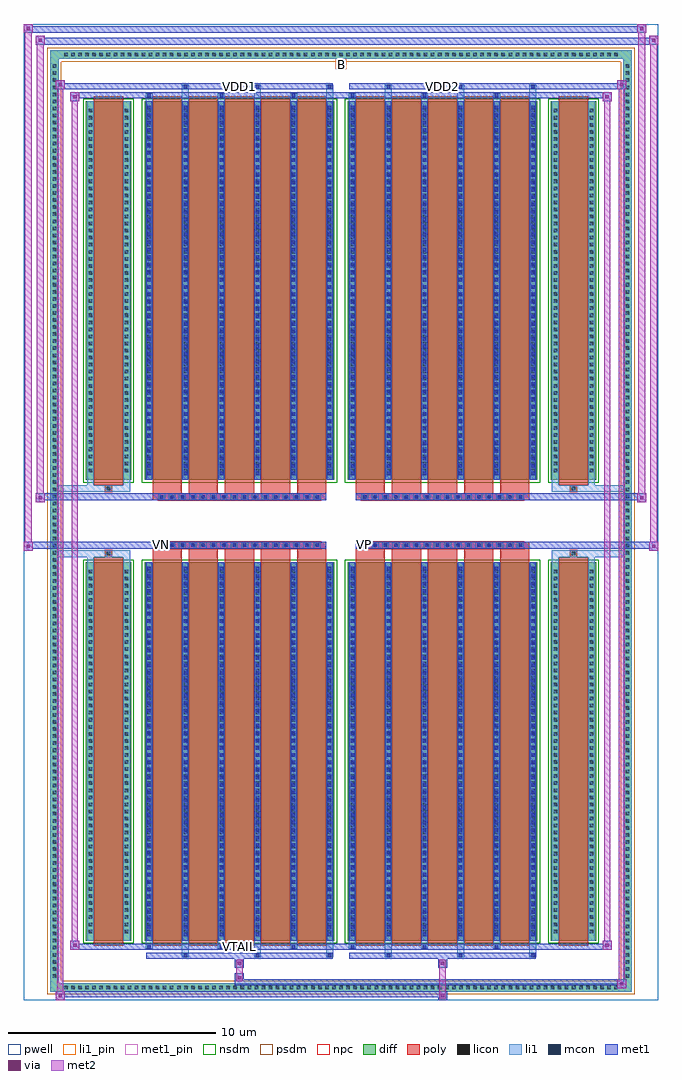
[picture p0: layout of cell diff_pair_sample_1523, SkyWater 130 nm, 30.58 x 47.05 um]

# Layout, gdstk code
import gdstk
lib = gdstk.Library(unit=1e-6, precision=5e-09)
def R(c, l, rs):  # rectangles x0, y0, x1, y1
    for r in rs: c.add(gdstk.rectangle(r[:2], r[2:], *l))
def A(c, l, x, y, w, h, nx, ny, dx, dy):  # array of equal rectangles
    R(c, l, [(x+i*dx, y+j*dy, x+i*dx+w, y+j*dy+h) for i in range(nx) for j in range(ny)])
def P(c, l, *ps):  # polygons
    for p in ps: c.add(gdstk.Polygon(p, *l))
pwell = (64, 44)
diff = (65, 20)
poly = (66, 20)
licon = (66, 44)
li1_pin = (67, 16)
li1 = (67, 20)
mcon = (67, 44)
met1_pin = (68, 16)
met1 = (68, 20)
via = (68, 44)
met2 = (69, 20)
nsdm = (93, 44)
psdm = (94, 20)
npc = (95, 20)

diff_pair_sample_1523 = lib.new_cell('diff_pair_sample_1523')
R(diff_pair_sample_1523, pwell, [(-15.29,-23.09,15.29,23.96), (-12.61,-21.28,-0.01,-0.8), (0.01,-21.28,12.61,-0.8), (-12.61,0.8,-0.01,21.28), (0.01,0.8,12.61,21.28)])
A(diff_pair_sample_1523, diff, -13.465, -22.69, 0.41, 0.41, 79, 2, 0.34, 44.97)
A(diff_pair_sample_1523, diff, -14.02, -22.135, 0.41, 0.41, 1, 130, 0, 0.34)
A(diff_pair_sample_1523, diff, 13.61, -22.135, 0.41, 0.41, 1, 130, 0, 0.34)
R(diff_pair_sample_1523, diff, [(-13.465,-22.69,13.465,-22.28), (-14.02,-22.135,-13.61,22.135), (13.61,-22.135,14.02,22.135), (-12.3,-20.235,-10.11,-1.985), (-9.47,-20.235,-0.32,-1.985), (0.32,-20.235,9.47,-1.985), (10.11,-20.235,12.3,-1.985), (-12.3,1.985,-10.11,20.235), (-9.47,1.985,-0.32,20.235), (0.32,1.985,9.47,20.235), (10.11,1.985,12.3,20.235), (-13.465,22.28,13.465,22.69)])
P(diff_pair_sample_1523, diff, [(14.02,22.69),(-14.02,22.69),(-14.02,-22.28),(-13.61,-22.28),(-13.61,22.28),(13.61,22.28),(13.61,-22.28),(-13.61,-22.28),(-14.02,-22.28),(-14.02,-22.69),(14.02,-22.69)])
A(diff_pair_sample_1523, poly, -9.08, -20.485, 1.41, 18.75, 5, 2, 1.74, 22.22)
A(diff_pair_sample_1523, poly, 0.71, -20.485, 1.41, 18.75, 5, 2, 1.74, 22.22)
A(diff_pair_sample_1523, poly, -9.08, -1.735, 1.41, 0.405, 5, 2, 1.74, 3.065)
A(diff_pair_sample_1523, poly, 0.71, -1.735, 1.41, 0.405, 5, 2, 1.74, 3.065)
A(diff_pair_sample_1523, poly, -8.81, -1.33, 0.33, 0.33, 16, 2, 0.5, 2.33)
A(diff_pair_sample_1523, poly, 0.98, -1.33, 0.33, 0.33, 16, 2, 0.5, 2.33)
R(diff_pair_sample_1523, poly, [(-11.91,-20.485,-10.5,-1.735), (10.5,-20.485,11.91,-1.735), (-11.37,-1.735,-11.04,-1.405), (-11.37,-1.735,-11.04,-1.405), (11.04,-1.735,11.37,-1.405), (11.04,-1.735,11.37,-1.405), (-9.08,-1.33,-0.71,-1), (0.71,-1.33,9.08,-1), (-9.08,1,-0.71,1.33), (0.71,1,9.08,1.33), (-11.37,1.405,-11.04,1.735), (-11.37,1.405,-11.04,1.735), (11.04,1.405,11.37,1.735), (11.04,1.405,11.37,1.735), (-11.91,1.735,-10.5,20.485), (10.5,1.735,11.91,20.485)])
A(diff_pair_sample_1523, licon, -13.345, -22.57, 0.17, 0.17, 79, 2, 0.34, 44.97)
A(diff_pair_sample_1523, licon, -13.9, -22.015, 0.17, 0.17, 1, 130, 0, 0.34)
A(diff_pair_sample_1523, licon, 13.73, -22.015, 0.17, 0.17, 1, 130, 0, 0.34)
A(diff_pair_sample_1523, licon, -12.16, -19.865, 0.17, 0.17, 1, 52, 0, 0.34)
A(diff_pair_sample_1523, licon, -10.42, -19.865, 0.17, 0.17, 1, 52, 0, 0.34)
A(diff_pair_sample_1523, licon, -9.33, -19.865, 0.17, 0.17, 6, 52, 1.74, 0.34)
A(diff_pair_sample_1523, licon, 0.46, -19.865, 0.17, 0.17, 6, 52, 1.74, 0.34)
A(diff_pair_sample_1523, licon, 10.25, -19.865, 0.17, 0.17, 1, 52, 0, 0.34)
A(diff_pair_sample_1523, licon, 11.99, -19.865, 0.17, 0.17, 1, 52, 0, 0.34)
A(diff_pair_sample_1523, licon, -8.73, -1.25, 0.17, 0.17, 16, 2, 0.5, 2.33)
A(diff_pair_sample_1523, licon, 1.06, -1.25, 0.17, 0.17, 16, 2, 0.5, 2.33)
A(diff_pair_sample_1523, licon, -12.16, 2.355, 0.17, 0.17, 1, 52, 0, 0.34)
A(diff_pair_sample_1523, licon, -10.42, 2.355, 0.17, 0.17, 1, 52, 0, 0.34)
A(diff_pair_sample_1523, licon, -9.33, 2.355, 0.17, 0.17, 6, 52, 1.74, 0.34)
A(diff_pair_sample_1523, licon, 0.46, 2.355, 0.17, 0.17, 6, 52, 1.74, 0.34)
A(diff_pair_sample_1523, licon, 10.25, 2.355, 0.17, 0.17, 1, 52, 0, 0.34)
A(diff_pair_sample_1523, licon, 11.99, 2.355, 0.17, 0.17, 1, 52, 0, 0.34)
R(diff_pair_sample_1523, licon, [(-11.29,-1.655,-11.12,-1.485), (11.12,-1.655,11.29,-1.485), (-11.29,1.485,-11.12,1.655), (11.12,1.485,11.29,1.655)])
R(diff_pair_sample_1523, li1_pin, [(-0.25,21.78,0.25,22.28)])
A(diff_pair_sample_1523, li1, -13.425, -22.65, 0.33, 0.33, 79, 2, 0.34, 44.97)
A(diff_pair_sample_1523, li1, -13.98, -22.095, 0.33, 0.33, 1, 130, 0, 0.34)
A(diff_pair_sample_1523, li1, 13.65, -22.095, 0.33, 0.33, 1, 130, 0, 0.34)
A(diff_pair_sample_1523, li1, -7.67, -21.04, 0.33, 0.805, 3, 2, 3.48, 41.275)
A(diff_pair_sample_1523, li1, -7.59, -21.04, 0.17, 0.17, 3, 2, 3.48, 41.91)
A(diff_pair_sample_1523, li1, 2.12, -21.04, 0.33, 0.805, 3, 2, 3.48, 41.275)
A(diff_pair_sample_1523, li1, 2.2, -21.04, 0.17, 0.17, 3, 2, 3.48, 41.91)
A(diff_pair_sample_1523, li1, -9.41, -20.61, 0.33, 0.375, 3, 2, 3.48, 40.845)
A(diff_pair_sample_1523, li1, -9.33, -20.61, 0.17, 0.17, 3, 2, 3.48, 41.05)
A(diff_pair_sample_1523, li1, 0.38, -20.61, 0.33, 0.375, 3, 2, 3.48, 40.845)
A(diff_pair_sample_1523, li1, 0.46, -20.61, 0.17, 0.17, 3, 2, 3.48, 41.05)
A(diff_pair_sample_1523, li1, -9.41, -20.235, 0.33, 18.25, 6, 2, 1.74, 22.22)
A(diff_pair_sample_1523, li1, 0.38, -20.235, 0.33, 18.25, 6, 2, 1.74, 22.22)
A(diff_pair_sample_1523, li1, -9.33, -20.015, 0.17, 0.17, 6, 50, 1.74, 0.36)
A(diff_pair_sample_1523, li1, -9.33, -20.015, 0.17, 17.81, 6, 2, 1.74, 22.22)
A(diff_pair_sample_1523, li1, 0.46, -20.015, 0.17, 0.17, 6, 50, 1.74, 0.36)
A(diff_pair_sample_1523, li1, 0.46, -20.015, 0.17, 17.81, 6, 2, 1.74, 22.22)
A(diff_pair_sample_1523, li1, -12.24, -19.945, 0.33, 0.33, 1, 52, 0, 0.34)
A(diff_pair_sample_1523, li1, -10.5, -19.945, 0.33, 0.33, 1, 52, 0, 0.34)
A(diff_pair_sample_1523, li1, -9.41, -19.945, 0.33, 0.33, 6, 52, 1.74, 0.34)
A(diff_pair_sample_1523, li1, 0.38, -19.945, 0.33, 0.33, 6, 52, 1.74, 0.34)
A(diff_pair_sample_1523, li1, 10.17, -19.945, 0.33, 0.33, 1, 52, 0, 0.34)
A(diff_pair_sample_1523, li1, 11.91, -19.945, 0.33, 0.33, 1, 52, 0, 0.34)
A(diff_pair_sample_1523, li1, -8.81, -1.33, 0.33, 0.33, 16, 2, 0.5, 2.33)
A(diff_pair_sample_1523, li1, 0.98, -1.33, 0.33, 0.33, 16, 2, 0.5, 2.33)
A(diff_pair_sample_1523, li1, -9.33, 2.205, 0.17, 0.17, 6, 50, 1.74, 0.36)
A(diff_pair_sample_1523, li1, 0.46, 2.205, 0.17, 0.17, 6, 50, 1.74, 0.36)
A(diff_pair_sample_1523, li1, -12.24, 2.275, 0.33, 0.33, 1, 52, 0, 0.34)
A(diff_pair_sample_1523, li1, -10.5, 2.275, 0.33, 0.33, 1, 52, 0, 0.34)
A(diff_pair_sample_1523, li1, -9.41, 2.275, 0.33, 0.33, 6, 52, 1.74, 0.34)
A(diff_pair_sample_1523, li1, 0.38, 2.275, 0.33, 0.33, 6, 52, 1.74, 0.34)
A(diff_pair_sample_1523, li1, 10.17, 2.275, 0.33, 0.33, 1, 52, 0, 0.34)
A(diff_pair_sample_1523, li1, 11.91, 2.275, 0.33, 0.33, 1, 52, 0, 0.34)
R(diff_pair_sample_1523, li1, [(-14.02,-22.69,-13.61,-22.28), (-14.02,-22.69,-13.61,-22.28), (-13.61,-22.69,13.61,-22.28), (13.61,-22.69,14.02,-22.28), (13.61,-22.69,14.02,-22.28), (-14.02,-22.28,-13.61,22.28), (13.61,-22.28,14.02,22.28), (-12.24,-20.235,-11.91,-1.985), (-10.5,-20.235,-10.17,-1.985), (10.17,-20.235,10.5,-1.985), (11.91,-20.235,12.24,-1.985), (-12.24,-1.985,-11.91,-1.405), (-10.5,-1.985,-10.17,-1.405), (10.17,-1.985,10.5,-1.405), (11.91,-1.985,12.24,-1.405), (-14.02,-1.735,-11.37,-1.405), (-12.24,-1.735,-11.37,-1.405), (-11.37,-1.735,-11.04,-1.405), (-11.04,-1.735,-10.17,-1.405), (10.17,-1.735,11.04,-1.405), (11.04,-1.735,11.37,-1.405), (11.04,-1.735,14.02,-1.405), (11.37,-1.735,12.24,-1.405), (-14.02,1.405,-11.37,1.735), (-12.24,1.405,-11.37,1.735), (-12.24,1.405,-11.91,1.985), (-11.37,1.405,-11.04,1.735), (-11.04,1.405,-10.17,1.735), (-10.5,1.405,-10.17,1.985), (10.17,1.405,11.04,1.735), (10.17,1.405,10.5,1.985), (11.04,1.405,11.37,1.735), (11.04,1.405,14.02,1.735), (11.37,1.405,12.24,1.735), (11.91,1.405,12.24,1.985), (-12.24,1.985,-11.91,20.235), (-10.5,1.985,-10.17,20.235), (10.17,1.985,10.5,20.235), (11.91,1.985,12.24,20.235), (-14.02,22.28,-13.61,22.69), (-14.02,22.28,-13.61,22.69), (-13.61,22.28,13.61,22.69), (13.61,22.28,14.02,22.69), (13.61,22.28,14.02,22.69)])
A(diff_pair_sample_1523, mcon, -7.59, -21.04, 0.17, 0.17, 3, 2, 3.48, 41.91)
A(diff_pair_sample_1523, mcon, 2.2, -21.04, 0.17, 0.17, 3, 2, 3.48, 41.91)
A(diff_pair_sample_1523, mcon, -9.33, -20.61, 0.17, 0.17, 3, 2, 3.48, 41.05)
A(diff_pair_sample_1523, mcon, 0.46, -20.61, 0.17, 0.17, 3, 2, 3.48, 41.05)
A(diff_pair_sample_1523, mcon, -9.33, -20.015, 0.17, 0.17, 6, 50, 1.74, 0.36)
A(diff_pair_sample_1523, mcon, 0.46, -20.015, 0.17, 0.17, 6, 50, 1.74, 0.36)
A(diff_pair_sample_1523, mcon, -8.73, -1.25, 0.17, 0.17, 16, 2, 0.5, 2.33)
A(diff_pair_sample_1523, mcon, 1.06, -1.25, 0.17, 0.17, 16, 2, 0.5, 2.33)
A(diff_pair_sample_1523, mcon, -9.33, 2.205, 0.17, 0.17, 6, 50, 1.74, 0.36)
A(diff_pair_sample_1523, mcon, 0.46, 2.205, 0.17, 0.17, 6, 50, 1.74, 0.36)
R(diff_pair_sample_1523, met1_pin, [(-5.03,-20.65,-4.76,-20.38), (-8.78,-1.29,-8.51,-1.02), (1.01,-1.29,1.28,-1.02), (-5.03,20.83,-4.76,21.1), (4.76,20.83,5.03,21.1)])
A(diff_pair_sample_1523, met1, -7.65, -21.1, 0.29, 0.29, 3, 2, 3.48, 41.91)
A(diff_pair_sample_1523, met1, 2.14, -21.1, 0.29, 0.29, 3, 2, 3.48, 41.91)
A(diff_pair_sample_1523, met1, -9.39, -20.67, 0.29, 0.29, 3, 2, 3.48, 41.05)
A(diff_pair_sample_1523, met1, 0.4, -20.67, 0.29, 0.29, 3, 2, 3.48, 41.05)
A(diff_pair_sample_1523, met1, -9.39, -20.235, 0.29, 18.25, 6, 2, 1.74, 22.22)
A(diff_pair_sample_1523, met1, 0.4, -20.235, 0.29, 18.25, 6, 2, 1.74, 22.22)
A(diff_pair_sample_1523, met1, -9.39, -20.075, 0.29, 0.29, 6, 50, 1.74, 0.36)
A(diff_pair_sample_1523, met1, 0.4, -20.075, 0.29, 0.29, 6, 50, 1.74, 0.36)
A(diff_pair_sample_1523, met1, -8.79, -1.31, 0.29, 0.29, 16, 2, 0.5, 2.33)
A(diff_pair_sample_1523, met1, 1, -1.31, 0.29, 0.29, 16, 2, 0.5, 2.33)
A(diff_pair_sample_1523, met1, -9.39, 2.145, 0.29, 0.29, 6, 50, 1.74, 0.36)
A(diff_pair_sample_1523, met1, 0.4, 2.145, 0.29, 0.29, 6, 50, 1.74, 0.36)
R(diff_pair_sample_1523, met1, [(-13.75,-23.09,-13.32,-22.66), (4.68,-23.09,5.11,-22.66), (-13.75,-22.95,5.11,-22.66), (13.32,-22.52,13.75,-22.09), (-5.11,-22.38,13.75,-22.09), (-5.11,-22.24,-4.68,-21.81), (-5.11,-21.53,-4.68,-21.1), (4.68,-21.53,5.11,-21.1), (-9.39,-21.1,-0.4,-20.81), (0.4,-21.1,9.39,-20.81), (-13.04,-20.67,-12.61,-20.24), (-13.04,-20.67,-9.39,-20.38), (-9.39,-20.67,-0.4,-20.38), (-0.4,-20.67,0.4,-20.38), (0.4,-20.67,9.39,-20.38), (9.39,-20.67,13.04,-20.38), (12.61,-20.67,13.04,-20.24), (-15.29,-1.43,-14.86,-1), (14.86,-1.43,15.29,-1), (-15.29,-1.33,-0.71,-1), (-9.08,-1.33,-0.71,-1), (0.71,-1.33,9.08,-1), (0.71,-1.33,15.29,-1), (-14.72,0.9,-14.29,1.33), (14.29,0.9,14.72,1.33), (-14.72,1,-9.08,1.33), (-9.08,1,-0.71,1.33), (0.71,1,9.08,1.33), (9.08,1,14.72,1.33), (-13.04,20.24,-12.61,20.67), (12.61,20.24,13.04,20.67), (-13.04,20.38,-9.39,20.67), (-9.39,20.38,-0.4,20.67), (-0.4,20.38,0.4,20.67), (0.4,20.38,9.39,20.67), (9.39,20.38,13.04,20.67), (-13.75,20.81,-13.32,21.24), (-13.75,20.81,-9.39,21.1), (-9.39,20.81,-0.4,21.1), (0.4,20.81,9.39,21.1), (9.39,20.81,13.75,21.1), (13.32,20.81,13.75,21.24), (-14.72,22.96,-14.29,23.39), (-14.72,22.96,-12.61,23.29), (-12.61,22.96,12.61,23.29), (12.61,22.96,15.29,23.29), (14.86,22.96,15.29,23.39), (-15.29,23.53,-14.86,23.96), (-15.29,23.53,-12.61,23.86), (-12.61,23.53,12.61,23.86), (12.61,23.53,14.72,23.86), (14.29,23.53,14.72,23.96)])
R(diff_pair_sample_1523, via, [(-13.61,-22.95,-13.46,-22.8), (4.82,-22.95,4.97,-22.8), (13.46,-22.38,13.61,-22.23), (-4.97,-22.1,-4.82,-21.95), (-4.97,-21.39,-4.82,-21.24), (4.82,-21.39,4.97,-21.24), (-12.9,-20.53,-12.75,-20.38), (12.75,-20.53,12.9,-20.38), (-15.15,-1.29,-15,-1.14), (15,-1.29,15.15,-1.14), (-14.58,1.04,-14.43,1.19), (14.43,1.04,14.58,1.19), (-12.9,20.38,-12.75,20.53), (12.75,20.38,12.9,20.53), (-13.61,20.95,-13.46,21.1), (13.46,20.95,13.61,21.1), (-14.58,23.1,-14.43,23.25), (15,23.1,15.15,23.25), (-15.15,23.67,-15,23.82), (14.43,23.67,14.58,23.82)])
R(diff_pair_sample_1523, met2, [(-13.75,-23.09,-13.32,-22.66), (-13.68,-23.09,-13.39,21.24), (-13.39,-23.09,-13.32,-22.66), (-13.7,-23.04,-13.37,-22.71), (4.73,-23.04,5.06,-22.71), (4.73,-22.71,5.06,-21.48), (13.32,-22.52,13.75,-22.09), (13.39,-22.52,13.68,21.24), (13.68,-22.52,13.75,-22.09), (13.37,-22.47,13.7,-22.14), (-5.06,-22.19,-4.73,-21.86), (-5.06,-21.86,-4.73,-21.48), (-5.06,-21.48,-4.73,-21.15), (4.73,-21.48,5.06,-21.15), (-13.04,-20.67,-12.61,-20.24), (-12.97,-20.67,-12.68,20.67), (-12.68,-20.67,-12.61,-20.24), (12.61,-20.67,13.04,-20.24), (12.68,-20.67,12.97,20.67), (12.97,-20.67,13.04,-20.24), (-12.99,-20.62,-12.66,-20.29), (12.66,-20.62,12.99,-20.29), (-15.29,-1.43,-14.86,-1), (-15.24,-1.43,-14.91,23.96), (-14.91,-1.43,-14.86,-1), (14.86,-1.43,15.29,-1), (14.91,-1.43,15.24,23.39), (15.24,-1.43,15.29,-1), (-15.24,-1.38,-14.91,-1.05), (14.91,-1.38,15.24,-1.05), (-14.72,0.9,-14.29,1.33), (-14.67,0.9,-14.34,23.39), (-14.34,0.9,-14.29,1.33), (14.29,0.9,14.72,1.33), (14.34,0.9,14.67,23.96), (14.67,0.9,14.72,1.33), (-14.67,0.95,-14.34,1.28), (14.34,0.95,14.67,1.28), (-13.04,20.24,-12.61,20.67), (-12.68,20.24,-12.61,20.67), (12.61,20.24,13.04,20.67), (12.97,20.24,13.04,20.67), (-12.99,20.29,-12.66,20.62), (12.66,20.29,12.99,20.62), (-13.75,20.81,-13.32,21.24), (-13.39,20.81,-13.32,21.24), (13.32,20.81,13.75,21.24), (13.68,20.81,13.75,21.24), (-13.7,20.86,-13.37,21.19), (13.37,20.86,13.7,21.19), (-14.72,22.96,-14.29,23.39), (-14.34,22.96,-14.29,23.39), (14.86,22.96,15.29,23.39), (15.24,22.96,15.29,23.39), (-14.67,23.01,-14.34,23.34), (14.91,23.01,15.24,23.34), (-15.29,23.53,-14.86,23.96), (-14.91,23.53,-14.86,23.96), (14.29,23.53,14.72,23.96), (14.67,23.53,14.72,23.96), (-15.24,23.58,-14.91,23.91), (14.34,23.58,14.67,23.91)])
R(diff_pair_sample_1523, nsdm, [(-12.43,-20.365,-9.98,-1.855), (-9.6,-20.365,-0.19,-1.855), (0.19,-20.365,9.6,-1.855), (9.98,-20.365,12.43,-1.855), (-12.43,1.855,-9.98,20.365), (-9.6,1.855,-0.19,20.365), (0.19,1.855,9.6,20.365), (9.98,1.855,12.43,20.365)])
P(diff_pair_sample_1523, psdm, [(14.15,22.82),(-14.15,22.82),(-14.15,-22.15),(-13.48,-22.15),(-13.48,22.15),(13.48,22.15),(13.48,-22.15),(-13.48,-22.15),(-14.15,-22.15),(-14.15,-22.82),(14.15,-22.82)])
A(diff_pair_sample_1523, npc, -8.83, -1.35, 0.37, 0.37, 16, 2, 0.5, 2.33)
A(diff_pair_sample_1523, npc, 0.96, -1.35, 0.37, 0.37, 16, 2, 0.5, 2.33)
R(diff_pair_sample_1523, npc, [(-11.39,-1.755,-11.02,-1.385), (11.02,-1.755,11.39,-1.385), (-8.83,-1.35,-7.96,-0.98), (-8.83,-1.35,-7.96,-0.98), (-8.33,-1.35,-7.46,-0.98), (-8.33,-1.35,-7.46,-0.98), (-7.83,-1.35,-6.96,-0.98), (-7.83,-1.35,-6.96,-0.98), (-7.33,-1.35,-6.46,-0.98), (-7.33,-1.35,-6.46,-0.98), (-6.83,-1.35,-5.96,-0.98), (-6.83,-1.35,-5.96,-0.98), (-6.33,-1.35,-5.46,-0.98), (-6.33,-1.35,-5.46,-0.98), (-5.83,-1.35,-4.96,-0.98), (-5.83,-1.35,-4.96,-0.98), (-5.33,-1.35,-4.46,-0.98), (-5.33,-1.35,-4.46,-0.98), (-4.83,-1.35,-3.96,-0.98), (-4.83,-1.35,-3.96,-0.98), (-4.33,-1.35,-3.46,-0.98), (-4.33,-1.35,-3.46,-0.98), (-3.83,-1.35,-2.96,-0.98), (-3.83,-1.35,-2.96,-0.98), (-3.33,-1.35,-2.46,-0.98), (-3.33,-1.35,-2.46,-0.98), (-2.83,-1.35,-1.96,-0.98), (-2.83,-1.35,-1.96,-0.98), (-2.33,-1.35,-1.46,-0.98), (-2.33,-1.35,-1.46,-0.98), (-1.83,-1.35,-0.96,-0.98), (-1.83,-1.35,-0.96,-0.98), (0.96,-1.35,1.83,-0.98), (0.96,-1.35,1.83,-0.98), (1.46,-1.35,2.33,-0.98), (1.46,-1.35,2.33,-0.98), (1.96,-1.35,2.83,-0.98), (1.96,-1.35,2.83,-0.98), (2.46,-1.35,3.33,-0.98), (2.46,-1.35,3.33,-0.98), (2.96,-1.35,3.83,-0.98), (2.96,-1.35,3.83,-0.98), (3.46,-1.35,4.33,-0.98), (3.46,-1.35,4.33,-0.98), (3.96,-1.35,4.83,-0.98), (3.96,-1.35,4.83,-0.98), (4.46,-1.35,5.33,-0.98), (4.46,-1.35,5.33,-0.98), (4.96,-1.35,5.83,-0.98), (4.96,-1.35,5.83,-0.98), (5.46,-1.35,6.33,-0.98), (5.46,-1.35,6.33,-0.98), (5.96,-1.35,6.83,-0.98), (5.96,-1.35,6.83,-0.98), (6.46,-1.35,7.33,-0.98), (6.46,-1.35,7.33,-0.98), (6.96,-1.35,7.83,-0.98), (6.96,-1.35,7.83,-0.98), (7.46,-1.35,8.33,-0.98), (7.46,-1.35,8.33,-0.98), (7.96,-1.35,8.83,-0.98), (7.96,-1.35,8.83,-0.98), (-8.83,0.98,-7.96,1.35), (-8.83,0.98,-7.96,1.35), (-8.33,0.98,-7.46,1.35), (-8.33,0.98,-7.46,1.35), (-7.83,0.98,-6.96,1.35), (-7.83,0.98,-6.96,1.35), (-7.33,0.98,-6.46,1.35), (-7.33,0.98,-6.46,1.35), (-6.83,0.98,-5.96,1.35), (-6.83,0.98,-5.96,1.35), (-6.33,0.98,-5.46,1.35), (-6.33,0.98,-5.46,1.35), (-5.83,0.98,-4.96,1.35), (-5.83,0.98,-4.96,1.35), (-5.33,0.98,-4.46,1.35), (-5.33,0.98,-4.46,1.35), (-4.83,0.98,-3.96,1.35), (-4.83,0.98,-3.96,1.35), (-4.33,0.98,-3.46,1.35), (-4.33,0.98,-3.46,1.35), (-3.83,0.98,-2.96,1.35), (-3.83,0.98,-2.96,1.35), (-3.33,0.98,-2.46,1.35), (-3.33,0.98,-2.46,1.35), (-2.83,0.98,-1.96,1.35), (-2.83,0.98,-1.96,1.35), (-2.33,0.98,-1.46,1.35), (-2.33,0.98,-1.46,1.35), (-1.83,0.98,-0.96,1.35), (-1.83,0.98,-0.96,1.35), (0.96,0.98,1.83,1.35), (0.96,0.98,1.83,1.35), (1.46,0.98,2.33,1.35), (1.46,0.98,2.33,1.35), (1.96,0.98,2.83,1.35), (1.96,0.98,2.83,1.35), (2.46,0.98,3.33,1.35), (2.46,0.98,3.33,1.35), (2.96,0.98,3.83,1.35), (2.96,0.98,3.83,1.35), (3.46,0.98,4.33,1.35), (3.46,0.98,4.33,1.35), (3.96,0.98,4.83,1.35), (3.96,0.98,4.83,1.35), (4.46,0.98,5.33,1.35), (4.46,0.98,5.33,1.35), (4.96,0.98,5.83,1.35), (4.96,0.98,5.83,1.35), (5.46,0.98,6.33,1.35), (5.46,0.98,6.33,1.35), (5.96,0.98,6.83,1.35), (5.96,0.98,6.83,1.35), (6.46,0.98,7.33,1.35), (6.46,0.98,7.33,1.35), (6.96,0.98,7.83,1.35), (6.96,0.98,7.83,1.35), (7.46,0.98,8.33,1.35), (7.46,0.98,8.33,1.35), (7.96,0.98,8.83,1.35), (7.96,0.98,8.83,1.35), (-11.39,1.385,-11.02,1.755), (11.02,1.385,11.39,1.755)])
diff_pair_sample_1523.add(gdstk.Label('VTAIL', (-4.895,-20.515), layer=68, texttype=5))
diff_pair_sample_1523.add(gdstk.Label('VN', (-8.645,-1.155), layer=68, texttype=5))
diff_pair_sample_1523.add(gdstk.Label('VP', (1.145,-1.155), layer=68, texttype=5))
diff_pair_sample_1523.add(gdstk.Label('B', (0,22.03), layer=67, texttype=5))
diff_pair_sample_1523.add(gdstk.Label('VDD2', (4.895,20.965), layer=68, texttype=5))
diff_pair_sample_1523.add(gdstk.Label('VDD1', (-4.895,20.965), layer=68, texttype=5))

lib.write_gds('diff_pair_sample_1523.gds')
